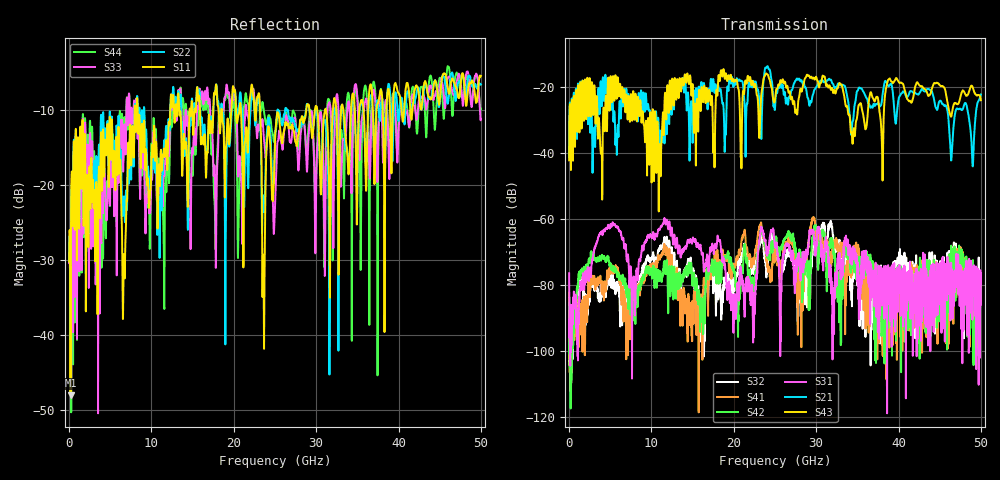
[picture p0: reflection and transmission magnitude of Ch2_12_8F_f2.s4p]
!Agilent Technologies,N5247A,US51170199,A.09.90.13
!Agilent N5247A: A.09.90.13
!Date: Tuesday, December 08, 2015 12:19:50
!Correction: S11(Full 4 Port(1,2,3,4))
!S12(Full 4 Port(1,2,3,4))
!S13(Full 4 Port(1,2,3,4))
!S14(Full 4 Port(1,2,3,4))
!S21(Full 4 Port(1,2,3,4))
!S22(Full 4 Port(1,2,3,4))
!S23(Full 4 Port(1,2,3,4))
!S24(Full 4 Port(1,2,3,4))
!S31(Full 4 Port(1,2,3,4))
!S32(Full 4 Port(1,2,3,4))
!S33(Full 4 Port(1,2,3,4))
!S34(Full 4 Port(1,2,3,4))
!S41(Full 4 Port(1,2,3,4))
!S42(Full 4 Port(1,2,3,4))
!S43(Full 4 Port(1,2,3,4))
!S44(Full 4 Port(1,2,3,4))
!S4P File: Measurements: <S11,S12,S13,S14>,
!<S21,S22,S23,S24>,
!<S31,S32,S33,S34>,
!<S41,S42,S43,S44>:
# Hz S  dB  R 50
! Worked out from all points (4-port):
!   3201 points, 10 MHz to 50 GHz, reference 50 ohm
!   strongest paths, dB at 10 MHz, 12.51 GHz, 25 GHz, 37.5 GHz, 50 GHz:
!     S43: -42.4, -17.9, -23.9, -23.6, -24.1
!     S21: -41.4, -21.6, -26.8, -25.0, -22.4
!     S31: -76.6, -63.6, -68.4, -81.9, -86.2
!     S42: -87.2, -76.3, -67.4, -74.9, -77.2
!     S41: -82.4, -73.5, -72.0, -84.3, -81.9
!     S32: -83.9, -69.6, -72.2, -83.7, -85.9
!   lowest |S11| = -48.0 dB at 181.8 MHz (marker M1), VSWR 1.01, Z = 50.1 - j0.385 ohm
!   |S11| at or under -10 dB: start of sweep to 7.974 GHz; 8.339 GHz to 12.28 GHz (3.945 GHz wide, 38.3 % of centre); 23.19 GHz to 28.8 GHz (5.604 GHz wide, 21.6 % of centre)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
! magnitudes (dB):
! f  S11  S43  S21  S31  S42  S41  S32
! 10 MHz  -30.2  -42.4  -41.4  -76.6  -87.2  -82.4  -83.9
! 181.8 MHz  -48.0  -29.6  -30.6  -100.6  -99.4  -103.0  -95.1
! 5.29 GHz  -16.4  -18.1  -23.0  -61.1  -74.5  -76.3  -77.3
! 11.04 GHz  -19.9  -38.2  -33.9  -63.2  -77.5  -71.9  -68.9
! 28.27 GHz  -10.7  -21.3  -18.4  -73.8  -76.9  -83.9  -73.3
! 29.66 GHz  -12.4  -17.3  -22.1  -64.4  -65.1  -59.8  -68.2
! 50 GHz  -5.4  -24.1  -22.4  -86.2  -77.2  -81.9  -85.9
